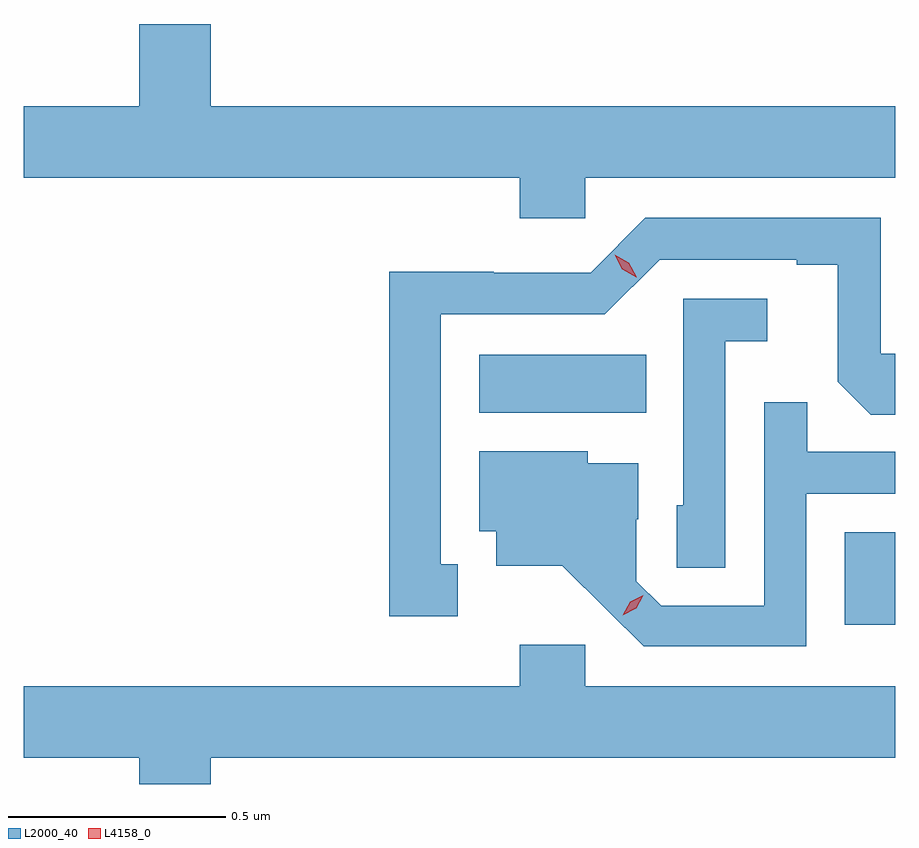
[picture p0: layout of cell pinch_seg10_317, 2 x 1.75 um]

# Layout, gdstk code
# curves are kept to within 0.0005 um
import gdstk
lib = gdstk.Library(unit=1e-6, precision=1e-09)
def R(c, l, rs):  # rectangles x0, y0, x1, y1
    for r in rs: c.add(gdstk.rectangle(r[:2], r[2:], *l))
def P(c, l, *ps):  # polygons
    for p in ps: c.add(gdstk.Polygon(p, *l))
L2000_40 = (2000, 40)
L4158_0 = (4158, 0)

pinch_seg10_317 = lib.new_cell('pinch_seg10_317')
R(pinch_seg10_317, L2000_40, [(418.376,1295.294,418.491,1295.506), (417.536,1295.78,417.92,1295.914)])
P(pinch_seg10_317, L2000_40, [(417.78,1296.32),(418.491,1296.32),(418.491,1296.484),(416.92,1296.484),(416.92,1296.673),(416.756,1296.673),(416.756,1296.484),(416.491,1296.484),(416.491,1296.32),(417.629,1296.32),(417.629,1296.227),(417.78,1296.227)],
  [(417.487,1295.433),(417.448,1295.433),(417.448,1296.006),(417.825,1296.006),(417.951,1296.132),(418.265,1296.132),(418.265,1296.12),(418.359,1296.12),(418.359,1295.852),(418.435,1295.776),(418.491,1295.776),(418.491,1295.916),(418.458,1295.916),(418.458,1296.228),(417.918,1296.228),(417.792,1296.102),(417.57,1296.102),(417.57,1296.104),(417.33,1296.104),(417.33,1295.313),(417.487,1295.313)],
  [(418.101,1295.945),(418.198,1295.945),(418.198,1296.042),(418.005,1296.042),(418.005,1295.568),(417.99,1295.568),(417.99,1295.425),(418.101,1295.425)],
  [(418.287,1295.595),(418.491,1295.595),(418.491,1295.691),(418.289,1295.691),(418.289,1295.804),(418.191,1295.804),(418.191,1295.337),(417.954,1295.337),(417.897,1295.394),(417.897,1295.536),(417.901,1295.536),(417.901,1295.665),(417.786,1295.665),(417.786,1295.692),(417.536,1295.692),(417.536,1295.508),(417.575,1295.508),(417.575,1295.429),(417.727,1295.429),(417.914,1295.244),(418.287,1295.244)],
  [(416.92,1294.988),(418.491,1294.988),(418.491,1295.152),(417.78,1295.152),(417.78,1295.248),(417.629,1295.248),(417.629,1295.152),(416.491,1295.152),(416.491,1294.988),(416.756,1294.988),(416.756,1294.928),(416.92,1294.928)])
P(pinch_seg10_317, L4158_0, [(417.866,1295.315),(417.866,1295.315),(417.883,1295.346),(417.913,1295.361),(417.913,1295.361),(417.913,1295.361),(417.897,1295.331),(417.866,1295.315)],
  [(417.897,1296.092),(417.865,1296.11),(417.848,1296.143),(417.848,1296.143),(417.848,1296.143),(417.88,1296.125),(417.898,1296.092),(417.898,1296.092)])

lib.write_gds('pinch_seg10_317.gds')
